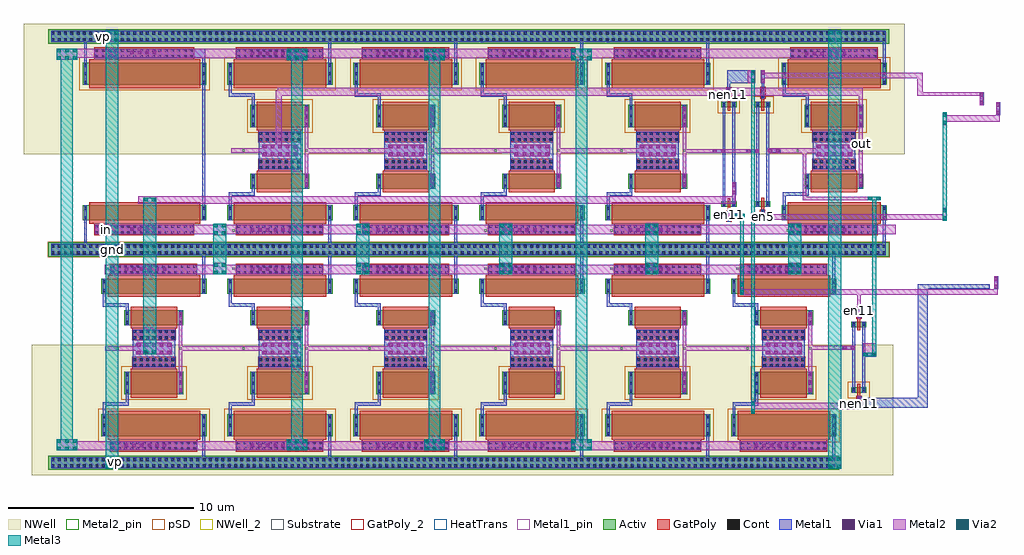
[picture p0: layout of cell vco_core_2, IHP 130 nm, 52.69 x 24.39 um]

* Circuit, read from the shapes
.subckt vco_core_2 en11 en5 gnd in nen11 nen5 out vp
XM1 vco_delay_cell_2$6_10/pgt in gnd gnd sg13_lv_nmos w=0.8u l=6u
XM2 gnd in n1 gnd sg13_lv_nmos w=0.8u l=5u
XM3 vco_delay_cell_2$6_7/in vco_delay_cell_2$6_9/in n1 gnd sg13_lv_nmos w=0.8u l=2.5u
XM4 gnd in n2 gnd sg13_lv_nmos w=0.8u l=5u
XM5 gnd in n3 gnd sg13_lv_nmos w=0.8u l=5u
XM6 vco_delay_cell_2$6_13/in vco_delay_cell_2$6_7/in n2 gnd sg13_lv_nmos w=0.8u l=2.5u
XM7 vco_delay_cell_2$6_2/in out n3 gnd sg13_lv_nmos w=0.8u l=2.5u
XM8 gnd in n4 gnd sg13_lv_nmos w=0.8u l=5u
XM9 gnd in n5 gnd sg13_lv_nmos w=0.8u l=5u
XM10 vco_delay_cell_2$6_14/in vco_delay_cell_2$6_13/in n4 gnd sg13_lv_nmos w=0.8u l=2.5u
XM11 vco_delay_cell_2$6_10/in vco_delay_cell_2$6_2/in n5 gnd sg13_lv_nmos w=0.8u l=2.5u
XM12 gnd in n6 gnd sg13_lv_nmos w=0.8u l=5u
XM13 gnd in n7 gnd sg13_lv_nmos w=0.8u l=5u
XM14 vco_delay_cell_2$6_15/in vco_delay_cell_2$6_14/in n6 gnd sg13_lv_nmos w=0.8u l=2.5u
XM15 vco_delay_cell_2$6_4/in vco_delay_cell_2$6_10/in n7 gnd sg13_lv_nmos w=0.8u l=2.5u
XM16 gnd in n8 gnd sg13_lv_nmos w=0.8u l=5u
XM17 gnd in n9 gnd sg13_lv_nmos w=0.8u l=5u
XM18 vco_delay_cell_2$6_16/in vco_delay_cell_2$6_15/in n8 gnd sg13_lv_nmos w=0.8u l=2.5u
XM19 vco_delay_cell_2$6_4/out vco_delay_cell_2$6_4/in n9 gnd sg13_lv_nmos w=0.8u l=2.5u
XM20 vco_delay_cell_2$6_9/in en11 vco_delay_cell_2$6_4/out gnd sg13_lv_nmos w=0.3u l=0.15u
XM21 gnd in n10 gnd sg13_lv_nmos w=0.8u l=5u
XM22 vco_delay_cell_2$6_16/out vco_delay_cell_2$6_16/in n10 gnd sg13_lv_nmos w=0.8u l=2.5u
XM23 vco_delay_cell_2$6_6/in en5 vco_delay_cell_2$6_4/out gnd sg13_lv_nmos w=0.3u l=0.15u
XM24 gnd in n11 gnd sg13_lv_nmos w=0.8u l=5u
XM25 out vco_delay_cell_2$6_6/in n11 gnd sg13_lv_nmos w=0.8u l=2.5u
XM26 vco_delay_cell_2$6_6/in en11 vco_delay_cell_2$6_16/out gnd sg13_lv_nmos w=0.3u l=0.15u
XM27 vco_delay_cell_2$6_10/pgt vco_delay_cell_2$6_10/pgt vp vp sg13_lv_pmos w=1.2u l=6u
XM28 vp vco_delay_cell_2$6_10/pgt n12 vp sg13_lv_pmos w=1.2u l=5u
XM29 vco_delay_cell_2$6_7/in vco_delay_cell_2$6_9/in n12 vp sg13_lv_pmos w=1.2u l=2.5u
XM30 vp vco_delay_cell_2$6_10/pgt n13 vp sg13_lv_pmos w=1.2u l=5u
XM31 vp vco_delay_cell_2$6_10/pgt n14 vp sg13_lv_pmos w=1.2u l=5u
XM32 vco_delay_cell_2$6_13/in vco_delay_cell_2$6_7/in n13 vp sg13_lv_pmos w=1.2u l=2.5u
XM33 vco_delay_cell_2$6_2/in out n14 vp sg13_lv_pmos w=1.2u l=2.5u
XM34 vp vco_delay_cell_2$6_10/pgt n15 vp sg13_lv_pmos w=1.2u l=5u
XM35 vp vco_delay_cell_2$6_10/pgt n16 vp sg13_lv_pmos w=1.2u l=5u
XM36 vco_delay_cell_2$6_14/in vco_delay_cell_2$6_13/in n15 vp sg13_lv_pmos w=1.2u l=2.5u
XM37 vco_delay_cell_2$6_10/in vco_delay_cell_2$6_2/in n16 vp sg13_lv_pmos w=1.2u l=2.5u
XM38 vp vco_delay_cell_2$6_10/pgt n17 vp sg13_lv_pmos w=1.2u l=5u
XM39 vp vco_delay_cell_2$6_10/pgt n18 vp sg13_lv_pmos w=1.2u l=5u
XM40 vco_delay_cell_2$6_15/in vco_delay_cell_2$6_14/in n17 vp sg13_lv_pmos w=1.2u l=2.5u
XM41 vco_delay_cell_2$6_4/in vco_delay_cell_2$6_10/in n18 vp sg13_lv_pmos w=1.2u l=2.5u
XM42 vp vco_delay_cell_2$6_10/pgt n19 vp sg13_lv_pmos w=1.2u l=5u
XM43 vp vco_delay_cell_2$6_10/pgt n20 vp sg13_lv_pmos w=1.2u l=5u
XM44 vco_delay_cell_2$6_16/in vco_delay_cell_2$6_15/in n19 vp sg13_lv_pmos w=1.2u l=2.5u
XM45 vco_delay_cell_2$6_4/out vco_delay_cell_2$6_4/in n20 vp sg13_lv_pmos w=1.2u l=2.5u
XM46 vco_delay_cell_2$6_9/in nen11 vco_delay_cell_2$6_4/out vp sg13_lv_pmos w=0.3u l=0.15u
XM47 vp vco_delay_cell_2$6_10/pgt n21 vp sg13_lv_pmos w=1.2u l=5u
XM48 vco_delay_cell_2$6_16/out vco_delay_cell_2$6_16/in n21 vp sg13_lv_pmos w=1.2u l=2.5u
XM49 vco_delay_cell_2$6_6/in nen5 vco_delay_cell_2$6_4/out vp sg13_lv_pmos w=0.3u l=0.15u
XM50 vp vco_delay_cell_2$6_10/pgt n22 vp sg13_lv_pmos w=1.2u l=5u
XM51 out vco_delay_cell_2$6_6/in n22 vp sg13_lv_pmos w=1.2u l=2.5u
XM52 vco_delay_cell_2$6_6/in nen11 vco_delay_cell_2$6_16/out vp sg13_lv_pmos w=0.3u l=0.15u
.ends

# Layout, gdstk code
from math import pi, radians
import gdstk
lib = gdstk.Library(unit=1e-6, precision=1e-09)
def R(c, l, rs):  # rectangles x0, y0, x1, y1
    for r in rs: c.add(gdstk.rectangle(r[:2], r[2:], *l))
def A(c, l, x, y, w, h, nx, ny, dx, dy):  # array of equal rectangles
    R(c, l, [(x+i*dx, y+j*dy, x+i*dx+w, y+j*dy+h) for i in range(nx) for j in range(ny)])
Activ = (1, 0)
GatPoly = (5, 0)
GatPoly_2 = (5, 2)
Cont = (6, 0)
Metal1 = (8, 0)
Metal1_pin = (8, 2)
Metal2 = (10, 0)
Metal2_pin = (10, 2)
pSD = (14, 0)
Via1 = (19, 0)
Via2 = (29, 0)
Metal3 = (30, 0)
NWell = (31, 0)
NWell_2 = (31, 2)
Substrate = (40, 0)
HeatTrans = (51, 0)

ptap1 = lib.new_cell('ptap1')
R(ptap1, Activ, [(0,0,2,0.78)])
A(ptap1, Cont, 0.07, 0.14, 0.16, 0.16, 6, 2, 0.34, 0.34)
R(ptap1, Metal1, [(0.07,0.09,1.93,0.69), (0.07,0.14,1.93,0.64)])
R(ptap1, Metal1_pin, [(0.07,0.14,1.93,0.64)])
R(ptap1, pSD, [(-0.03,-0.03,2.03,0.81)])
R(ptap1, Substrate, [(0,0,2,0.78)])
ptap1.add(gdstk.Label('sub!', (1,0.01), layer=63, texttype=0))
ptap1.add(gdstk.Label('sub!', (1,0.01), layer=40, texttype=0))

via_15_2 = lib.new_cell('Via$15$2')
R(via_15_2, GatPoly, [(-2.36,-0.32,2.36,0.32)])
A(via_15_2, Cont, -2.29, -0.25, 0.16, 0.16, 14, 2, 0.34, 0.34)
R(via_15_2, Metal1, [(-2.34,-0.25,2.34,0.25)])

via_7_6 = lib.new_cell('Via$7$6')
R(via_7_6, Metal1, [(-0.555,-0.105,0.555,0.105)])
R(via_7_6, Metal2, [(-0.555,-0.1,0.555,0.1)])
A(via_7_6, Via1, -0.505, -0.095, 0.19, 0.19, 3, 1, 0.41, 0)

ptap1_3_2 = lib.new_cell('ptap1$3$2')
R(ptap1_3_2, Activ, [(0,0,6,0.78)])
A(ptap1_3_2, Cont, 0.2, 0.14, 0.16, 0.16, 17, 2, 0.34, 0.34)
R(ptap1_3_2, Metal1, [(0.2,0.09,5.8,0.69), (0.2,0.14,5.8,0.64)])
R(ptap1_3_2, Metal1_pin, [(0.2,0.14,5.8,0.64)])
R(ptap1_3_2, pSD, [(-0.03,-0.03,6.03,0.81)])
R(ptap1_3_2, Substrate, [(0,0,6,0.78)])
ptap1_3_2.add(gdstk.Label('sub!', (3,0.01), layer=63, texttype=0))
ptap1_3_2.add(gdstk.Label('sub!', (3,0.01), layer=40, texttype=0))

pmos_5_6 = lib.new_cell('pmos$5$6')
R(pmos_5_6, Activ, [(0,0,0.3,0.3), (0,0,3.18,1.2), (2.88,0,3.18,0.3)])
R(pmos_5_6, GatPoly, [(0.34,-0.18,2.84,1.38), (0.34,-0.18,2.84,1.38)])
A(pmos_5_6, Cont, 0.07, 0.07, 0.16, 0.16, 1, 3, 0, 0.45)
A(pmos_5_6, Cont, 2.95, 0.07, 0.16, 0.16, 1, 3, 0, 0.45)
R(pmos_5_6, Metal1, [(0.07,0,0.23,1.2), (0.07,0,0.23,1.2), (2.95,0,3.11,1.2), (2.95,0,3.11,1.2)])
R(pmos_5_6, pSD, [(-0.18,-0.3,3.36,1.5)])
R(pmos_5_6, NWell, [(-0.31,-0.31,3.49,1.51)])
R(pmos_5_6, HeatTrans, [(0.34,-0.18,2.84,1.38)])
pmos_5_6.add(gdstk.Label('pmos', (1.59,0.6), layer=63, texttype=0))
pmos_5_6.add(gdstk.Label('pmos', (1.59,0.6), layer=51, texttype=0))

via_12_2 = lib.new_cell('Via$12$2')
R(via_12_2, GatPoly, [(-1.17,-0.32,1.17,0.32)])
A(via_12_2, Cont, -1.1, -0.25, 0.16, 0.16, 7, 2, 0.34, 0.34)
R(via_12_2, Metal1, [(-1.15,-0.25,1.15,0.25)])

ntap1_3_1 = lib.new_cell('ntap1$3$1')
R(ntap1_3_1, Activ, [(0,0,6,0.78)])
A(ntap1_3_1, Cont, 0.2, 0.14, 0.16, 0.16, 17, 2, 0.34, 0.34)
R(ntap1_3_1, Metal1, [(0.2,0.09,5.8,0.69)])
R(ntap1_3_1, Metal1_pin, [(0.2,0.09,5.8,0.69), (0.2,0.14,5.8,0.64)])
R(ntap1_3_1, NWell, [(-0.24,-0.24,6.24,1.02), (0,0,6,0.78)])
R(ntap1_3_1, NWell_2, [(0,0,6,0.78)])
ntap1_3_1.add(gdstk.Label('well', (3,0.01), layer=63, texttype=0))
ntap1_3_1.add(gdstk.Label('well', (3,0.01), layer=31, texttype=0))

via_8_6 = lib.new_cell('Via$8$6')
R(via_8_6, Metal1, [(-0.965,-0.31,0.965,0.31)])
R(via_8_6, Metal2, [(-0.965,-0.305,0.965,0.305)])
A(via_8_6, Via1, -0.915, -0.3, 0.19, 0.19, 5, 2, 0.41, 0.41)

nmos_4_3 = lib.new_cell('nmos$4$3')
R(nmos_4_3, Activ, [(0,0,0.3,0.3), (0,0,5.68,0.8), (5.38,0,5.68,0.3)])
R(nmos_4_3, GatPoly, [(0.34,-0.18,5.34,0.98)])
R(nmos_4_3, GatPoly_2, [(0.34,-0.18,5.34,0.98)])
R(nmos_4_3, Cont, [(0.07,0.07,0.23,0.23), (5.45,0.07,5.61,0.23), (0.07,0.57,0.23,0.73), (5.45,0.57,5.61,0.73)])
R(nmos_4_3, Metal1, [(0.07,0,0.23,0.8), (5.45,0,5.61,0.8)])
R(nmos_4_3, Metal1_pin, [(0.07,0,0.23,0.8), (5.45,0,5.61,0.8)])
R(nmos_4_3, HeatTrans, [(0.34,-0.18,5.34,0.98)])
nmos_4_3.add(gdstk.Label('nmos', (2.84,0.4), layer=63, texttype=0))
nmos_4_3.add(gdstk.Label('nmos', (2.84,0.4), layer=51, texttype=0))

pmos_4_1 = lib.new_cell('pmos$4$1')
R(pmos_4_1, Activ, [(0,0,0.3,0.3), (0,0,5.68,1.2), (5.38,0,5.68,0.3)])
R(pmos_4_1, GatPoly, [(0.34,-0.18,5.34,1.38), (0.34,-0.18,5.34,1.38)])
A(pmos_4_1, Cont, 0.07, 0.07, 0.16, 0.16, 1, 3, 0, 0.45)
A(pmos_4_1, Cont, 5.45, 0.07, 0.16, 0.16, 1, 3, 0, 0.45)
R(pmos_4_1, Metal1, [(0.07,0,0.23,1.2), (0.07,0,0.23,1.2), (5.45,0,5.61,1.2), (5.45,0,5.61,1.2)])
R(pmos_4_1, pSD, [(-0.18,-0.3,5.86,1.5)])
R(pmos_4_1, NWell, [(-0.31,-0.31,5.99,1.51)])
R(pmos_4_1, HeatTrans, [(0.34,-0.18,5.34,1.38)])
pmos_4_1.add(gdstk.Label('pmos', (2.84,0.6), layer=63, texttype=0))
pmos_4_1.add(gdstk.Label('pmos', (2.84,0.6), layer=51, texttype=0))

via_11_4 = lib.new_cell('Via$11$4')
R(via_11_4, Metal1, [(-0.35,-0.105,0.35,0.105)])
R(via_11_4, Metal2, [(-0.35,-0.1,0.35,0.1)])
R(via_11_4, Via1, [(-0.3,-0.095,-0.11,0.095), (0.11,-0.095,0.3,0.095)])

nmos_2_3 = lib.new_cell('nmos$2$3')
R(nmos_2_3, Activ, [(0,0,0.3,0.3), (0,0,3.18,0.8), (2.88,0,3.18,0.3)])
R(nmos_2_3, GatPoly, [(0.34,-0.18,2.84,0.98)])
R(nmos_2_3, GatPoly_2, [(0.34,-0.18,2.84,0.98)])
R(nmos_2_3, Cont, [(0.07,0.07,0.23,0.23), (2.95,0.07,3.11,0.23), (0.07,0.57,0.23,0.73), (2.95,0.57,3.11,0.73)])
R(nmos_2_3, Metal1, [(0.07,0,0.23,0.8), (2.95,0,3.11,0.8)])
R(nmos_2_3, Metal1_pin, [(0.07,0,0.23,0.8), (2.95,0,3.11,0.8)])
R(nmos_2_3, HeatTrans, [(0.34,-0.18,2.84,0.98)])
nmos_2_3.add(gdstk.Label('nmos', (1.59,0.4), layer=63, texttype=0))
nmos_2_3.add(gdstk.Label('nmos', (1.59,0.4), layer=51, texttype=0))

via_14_2 = lib.new_cell('Via$14$2')
R(via_14_2, Metal1, [(-1.17,-0.105,1.17,0.105)])
R(via_14_2, Metal2, [(-1.17,-0.1,1.17,0.1)])
A(via_14_2, Via1, -1.12, -0.095, 0.19, 0.19, 6, 1, 0.41, 0)

vco_delay_cell_2_6 = lib.new_cell('vco_delay_cell_2$6')
R(vco_delay_cell_2_6, Metal1, [(3.87,-4.85,4.03,-3.55), (0.02,-4.32,0.14,-3.82), (0.14,-4.32,0.48,-3.82), (-1.51,-2.77,-1.35,-2.195), (-1.51,-2.25,-0.11,-2.06), (-0.27,-2.25,-0.11,-1.87), (0.1,-0.82,2.4,1.21), (-0.27,2.13,-0.11,3.16), (-1.51,3.105,-1.35,3.97), (-1.51,3.105,-0.11,3.295), (3.87,4.71,4.03,6.27), (-1.51,6.05,-1.35,6.29)])
R(vco_delay_cell_2_6, Metal1_pin, [(0.705,-5.08,0.835,-4.95), (0.335,6.315,0.465,6.445)])
R(vco_delay_cell_2_6, Metal2, [(-1.4,-4.32,-0.51,-3.82), (-0.52,-4.32,3.55,-3.82), (2.59,-1.76,2.79,0.57), (2.59,-0.16,2.79,1.48), (-1.38,0.07,0.95,0.32), (-1.45,5.19,3.55,5.69)])
R(vco_delay_cell_2_6, Metal2_pin, [(-1.31,-4.18,-1.18,-4.05), (2.635,0.13,2.765,0.26), (-0.775,0.135,-0.645,0.265), (-0.495,5.41,-0.365,5.54)])
R(vco_delay_cell_2_6, NWell, [(-2.36,-0.01,4.65,0.3), (-1.56,0.29,2.98,5.31), (-2.36,0.3,4.65,7.04)])
vco_delay_cell_2_6.add(gdstk.Reference(via_15_2, (1.24,5.44)))
vco_delay_cell_2_6.add(gdstk.Reference(via_7_6, (2.69,2.01), rotation=pi/2))
vco_delay_cell_2_6.add(gdstk.Reference(ptap1_3_2, (-1.76,-5.54)))
vco_delay_cell_2_6.add(gdstk.Reference(pmos_5_6, (-0.34,1.46)))
vco_delay_cell_2_6.add(gdstk.Reference(via_15_2, (1.24,-4.07)))
vco_delay_cell_2_6.add(gdstk.Reference(via_12_2, (1.25,0.96)))
vco_delay_cell_2_6.add(gdstk.Reference(ntap1_3_1, (-1.76,5.97)))
vco_delay_cell_2_6.add(gdstk.Reference(via_12_2, (1.25,-0.57)))
vco_delay_cell_2_6.add(gdstk.Reference(via_8_6, (1.26,0.2)))
vco_delay_cell_2_6.add(gdstk.Reference(nmos_4_3, (-1.58,-3.57)))
vco_delay_cell_2_6.add(gdstk.Reference(pmos_4_1, (-1.58,3.74)))
vco_delay_cell_2_6.add(gdstk.Reference(via_11_4, (2.69,-1.42), rotation=pi/2))
vco_delay_cell_2_6.add(gdstk.Reference(nmos_2_3, (-0.34,-1.87)))
vco_delay_cell_2_6.add(gdstk.Reference(via_14_2, (0.8,-4.1)))
vco_delay_cell_2_6.add(gdstk.Reference(via_14_2, (0.8,5.44)))
vco_delay_cell_2_6.add(gdstk.Label('in', (-0.71,0.2), layer=10, texttype=25))
vco_delay_cell_2_6.add(gdstk.Label('out', (2.7,0.18), layer=10, texttype=25))
vco_delay_cell_2_6.add(gdstk.Label('ngt', (-1.24,-4.11), layer=10, texttype=25))
vco_delay_cell_2_6.add(gdstk.Label('pgt', (-0.43,5.48), layer=10, texttype=25))
vco_delay_cell_2_6.add(gdstk.Label('gnd', (0.77,-5.01), layer=8, texttype=25))
vco_delay_cell_2_6.add(gdstk.Label('vp', (0.4,6.38), layer=8, texttype=25))

ptap1_3 = lib.new_cell('ptap1$3')
R(ptap1_3, Activ, [(0,0,9,0.78)])
A(ptap1_3, Cont, 0.17, 0.14, 0.16, 0.16, 26, 2, 0.34, 0.34)
R(ptap1_3, Metal1, [(0.17,0.09,8.83,0.69), (0.17,0.14,8.83,0.64)])
R(ptap1_3, Metal1_pin, [(0.17,0.14,8.83,0.64)])
R(ptap1_3, pSD, [(-0.03,-0.03,9.03,0.81)])
R(ptap1_3, Substrate, [(0,0,9,0.78)])
ptap1_3.add(gdstk.Label('sub!', (4.5,0.01), layer=63, texttype=0))
ptap1_3.add(gdstk.Label('sub!', (4.5,0.01), layer=40, texttype=0))

nmos_8 = lib.new_cell('nmos$8')
R(nmos_8, Activ, [(0,0,0.3,0.3), (0,0,0.83,0.3), (0.53,0,0.83,0.3)])
R(nmos_8, GatPoly, [(0.34,-0.18,0.49,0.48)])
R(nmos_8, GatPoly_2, [(0.34,-0.18,0.49,0.48)])
R(nmos_8, Cont, [(0.07,0.07,0.23,0.23), (0.6,0.07,0.76,0.23)])
R(nmos_8, Metal1, [(0.07,0,0.23,0.3), (0.6,0,0.76,0.3)])
R(nmos_8, Metal1_pin, [(0.07,0,0.23,0.3), (0.6,0,0.76,0.3)])
R(nmos_8, HeatTrans, [(0.34,-0.18,0.49,0.48)])
nmos_8.add(gdstk.Label('nmos', (0.415,0.15), layer=63, texttype=0))
nmos_8.add(gdstk.Label('nmos', (0.415,0.15), layer=51, texttype=0))

pmos_6 = lib.new_cell('pmos$6')
R(pmos_6, Activ, [(0,0,0.3,0.3), (0,0,0.83,0.3), (0.53,0,0.83,0.3)])
R(pmos_6, GatPoly, [(0.34,-0.18,0.49,0.48), (0.34,-0.18,0.49,0.48)])
R(pmos_6, Cont, [(0.07,0.07,0.23,0.23), (0.6,0.07,0.76,0.23)])
R(pmos_6, Metal1, [(0.07,0,0.23,0.3), (0.07,0,0.23,0.3), (0.6,0,0.76,0.3), (0.6,0,0.76,0.3)])
R(pmos_6, pSD, [(-0.18,-0.3,1.01,0.6)])
R(pmos_6, NWell, [(-0.31,-0.31,1.14,0.61)])
R(pmos_6, HeatTrans, [(0.34,-0.18,0.49,0.48)])
pmos_6.add(gdstk.Label('pmos', (0.415,0.15), layer=63, texttype=0))
pmos_6.add(gdstk.Label('pmos', (0.415,0.15), layer=51, texttype=0))

via_16 = lib.new_cell('Via$16')
R(via_16, Metal1, [(-0.35,-0.105,0.35,0.105)])
R(via_16, Metal2, [(-0.35,-0.1,0.35,0.1)])
R(via_16, Via1, [(-0.3,-0.095,-0.11,0.095), (0.11,-0.095,0.3,0.095)])

via_17 = lib.new_cell('Via$17')
R(via_17, GatPoly, [(-0.15,-0.32,0.15,0.32)])
R(via_17, Cont, [(-0.08,-0.25,0.08,-0.09), (-0.08,0.09,0.08,0.25)])
R(via_17, Metal1, [(-0.08,-0.3,0.08,0.3)])

via_18 = lib.new_cell('Via$18')
R(via_18, Metal2, [(-0.35,-0.1,0.35,0.1)])
R(via_18, Via2, [(-0.3,-0.095,-0.11,0.095), (0.11,-0.095,0.3,0.095)])
R(via_18, Metal3, [(-0.35,-0.1,0.35,0.1)])

ntap1 = lib.new_cell('ntap1')
R(ntap1, Activ, [(0,0,2,0.78)])
A(ntap1, Cont, 0.07, 0.14, 0.16, 0.16, 6, 2, 0.34, 0.34)
R(ntap1, Metal1, [(0.07,0.09,1.93,0.69)])
R(ntap1, Metal1_pin, [(0.07,0.09,1.93,0.69), (0.07,0.14,1.93,0.64)])
R(ntap1, NWell, [(-0.24,-0.24,2.24,1.02), (0,0,2,0.78)])
R(ntap1, NWell_2, [(0,0,2,0.78)])
ntap1.add(gdstk.Label('well', (1,0.01), layer=63, texttype=0))
ntap1.add(gdstk.Label('well', (1,0.01), layer=31, texttype=0))

ntap1_6 = lib.new_cell('ntap1$6')
R(ntap1_6, Activ, [(0,0,6,0.78)])
A(ntap1_6, Cont, 0.2, 0.14, 0.16, 0.16, 17, 2, 0.34, 0.34)
R(ntap1_6, Metal1, [(0.2,0.09,5.8,0.69)])
R(ntap1_6, Metal1_pin, [(0.2,0.09,5.8,0.69), (0.2,0.14,5.8,0.64)])
R(ntap1_6, NWell, [(-0.24,-0.24,6.24,1.02), (0,0,6,0.78)])
R(ntap1_6, NWell_2, [(0,0,6,0.78)])
ntap1_6.add(gdstk.Label('well', (3,0.01), layer=63, texttype=0))
ntap1_6.add(gdstk.Label('well', (3,0.01), layer=31, texttype=0))

via_14 = lib.new_cell('Via$14')
R(via_14, Metal2, [(-0.35,-0.305,0.35,0.305)])
R(via_14, Via2, [(-0.3,-0.3,-0.11,-0.11), (0.11,-0.3,0.3,-0.11), (-0.3,0.11,-0.11,0.3), (0.11,0.11,0.3,0.3)])
R(via_14, Metal3, [(-0.35,-0.305,0.35,0.305)])

via_15 = lib.new_cell('Via$15')
R(via_15, Metal2, [(-0.555,-0.305,0.555,0.305)])
A(via_15, Via2, -0.505, -0.3, 0.19, 0.19, 3, 2, 0.41, 0.41)
R(via_15, Metal3, [(-0.555,-0.305,0.555,0.305)])

via_19 = lib.new_cell('Via$19')
R(via_19, Metal1, [(-0.35,-0.31,0.35,0.31)])
R(via_19, Metal2, [(-0.35,-0.305,0.35,0.305)])
R(via_19, Via1, [(-0.3,-0.3,-0.11,-0.11), (0.11,-0.3,0.3,-0.11), (-0.3,0.11,-0.11,0.3), (0.11,0.11,0.3,0.3)])

via_12 = lib.new_cell('Via$12')
R(via_12, Metal1, [(-0.76,-0.105,0.76,0.105)])
R(via_12, Metal2, [(-0.76,-0.1,0.76,0.1)])
A(via_12, Via1, -0.71, -0.095, 0.19, 0.19, 4, 1, 0.41, 0)

pmos = lib.new_cell('pmos')
R(pmos, Activ, [(0,0,0.3,0.3), (0,0,6.68,1.2), (6.38,0,6.68,0.3)])
R(pmos, GatPoly, [(0.34,-0.18,6.34,1.38), (0.34,-0.18,6.34,1.38)])
A(pmos, Cont, 0.07, 0.07, 0.16, 0.16, 1, 3, 0, 0.45)
A(pmos, Cont, 6.45, 0.07, 0.16, 0.16, 1, 3, 0, 0.45)
R(pmos, Metal1, [(0.07,0,0.23,1.2), (0.07,0,0.23,1.2), (6.45,0,6.61,1.2), (6.45,0,6.61,1.2)])
R(pmos, pSD, [(-0.18,-0.3,6.86,1.5)])
R(pmos, NWell, [(-0.31,-0.31,6.99,1.51)])
R(pmos, HeatTrans, [(0.34,-0.18,6.34,1.38)])
pmos.add(gdstk.Label('pmos', (3.34,0.6), layer=63, texttype=0))
pmos.add(gdstk.Label('pmos', (3.34,0.6), layer=51, texttype=0))

via = lib.new_cell('Via')
R(via, GatPoly, [(-2.7,-0.32,2.7,0.32)])
A(via, Cont, -2.63, -0.25, 0.16, 0.16, 16, 2, 0.34, 0.34)
R(via, Metal1, [(-2.68,-0.25,2.68,0.25)])

ntap1_5 = lib.new_cell('ntap1$5')
R(ntap1_5, Activ, [(0,0,9,0.78)])
A(ntap1_5, Cont, 0.17, 0.14, 0.16, 0.16, 26, 2, 0.34, 0.34)
R(ntap1_5, Metal1, [(0.17,0.09,8.83,0.69)])
R(ntap1_5, Metal1_pin, [(0.17,0.09,8.83,0.69), (0.17,0.14,8.83,0.64)])
R(ntap1_5, NWell, [(-0.24,-0.24,9.24,1.02), (0,0,9,0.78)])
R(ntap1_5, NWell_2, [(0,0,9,0.78)])
ntap1_5.add(gdstk.Label('well', (4.5,0.01), layer=63, texttype=0))
ntap1_5.add(gdstk.Label('well', (4.5,0.01), layer=31, texttype=0))

nmos = lib.new_cell('nmos')
R(nmos, Activ, [(0,0,0.3,0.3), (0,0,6.68,0.8), (6.38,0,6.68,0.3)])
R(nmos, GatPoly, [(0.34,-0.18,6.34,0.98)])
R(nmos, GatPoly_2, [(0.34,-0.18,6.34,0.98)])
R(nmos, Cont, [(0.07,0.07,0.23,0.23), (6.45,0.07,6.61,0.23), (0.07,0.57,0.23,0.73), (6.45,0.57,6.61,0.73)])
R(nmos, Metal1, [(0.07,0,0.23,0.8), (6.45,0,6.61,0.8)])
R(nmos, Metal1_pin, [(0.07,0,0.23,0.8), (6.45,0,6.61,0.8)])
R(nmos, HeatTrans, [(0.34,-0.18,6.34,0.98)])
nmos.add(gdstk.Label('nmos', (3.34,0.4), layer=63, texttype=0))
nmos.add(gdstk.Label('nmos', (3.34,0.4), layer=51, texttype=0))

vco_core_2 = lib.new_cell('vco_core_2')
R(vco_core_2, Metal1, [(32.435,-14.055,36.215,-13.51), (35.69,-13.915,36.215,-7.395), (32.15,-13.1,32.31,-9.56), (32.68,-13.1,32.84,-9.56), (36.03,-7.645,39.57,-7.395), (-9.33,-5.43,-9.17,-3.9), (-2.95,-3.29,-2.79,4.19), (25.67,-3.15,25.83,2.22), (25.14,-3.145,25.3,2.22), (26.96,-3.13,27.12,2.22), (27.49,-3.13,27.65,2.22), (27.245,2.875,27.405,3.755), (25.4,3.055,25.56,3.665), (25.4,3.45,26.685,4.15), (-9.33,4.335,-9.17,5.995), (-2.95,4.395,-2.79,5.045), (-3.4,4.825,-2.79,5.325)])
R(vco_core_2, Metal1_pin, [(-7.715,-17.045,-7.585,-16.915), (32.445,-13.915,32.575,-13.785), (32.445,-8.86,32.575,-8.73), (-7.875,-5.605,-7.745,-5.475), (-7.875,-5.605,-7.745,-5.475), (27.27,-3.82,27.4,-3.69), (25.45,-3.72,25.58,-3.59), (25.42,2.8,25.55,2.93), (27.26,2.91,27.39,3.04), (-8.325,5.93,-8.195,6.06), (-8.325,5.93,-8.195,6.06)])
R(vco_core_2, Metal2, [(-10.61,-16.36,-8.1,-15.86), (-4.29,-16.36,30.77,-15.86), (5.13,-16.36,7.23,-15.86), (26.69,-14.15,28.56,-13.8), (28.56,-14.15,32.615,-13.8), (32.74,-11.09,33.44,-10.58), (-4.09,-10.99,-1.34,-10.74), (2.62,-10.99,6.35,-10.74), (9.44,-10.99,13.17,-10.74), (16.37,-10.99,20.1,-10.74), (23.1,-10.99,26.83,-10.74), (29.96,-10.93,32.28,-10.72), (29.855,-10.92,31.96,-10.72), (32.415,-9.21,32.615,-7.97), (26.09,-7.97,32.625,-7.66), (32.45,-7.97,40.01,-7.66), (-5.12,-6.85,30.3,-6.35), (-8.76,-4.69,-3.4,-4.19), (-5.12,-4.69,34.5,-4.19), (27.325,-3.91,37.135,-3.62), (25.565,-3.775,26.17,-3.575), (-6.39,-3.045,25.865,-2.63), (29.89,-2.87,33.68,-2.67), (25.665,-2.86,25.865,-2.59), (29.46,-0.9,29.66,-0.06), (2.74,-0.31,7.13,-0.06), (9.49,-0.31,13.22,-0.06), (16.28,-0.31,20.01,-0.06), (27.64,-0.31,30.87,-0.06), (23.09,-0.3,25.545,-0.1), (23.715,-0.3,26.825,-0.1), (1.02,-0.105,1.34,3.09), (37.125,1.39,40.115,1.74), (32.5,2.15,32.7,3.21), (1.13,2.77,32.7,3.21), (35.64,2.785,35.95,4.035), (35.745,2.785,39.225,2.985), (26.495,3.45,26.89,4.15), (27.405,3.73,35.95,4.035), (-4.29,4.82,33.49,5.32), (5.13,4.82,7.23,5.32), (-10.61,4.825,-8.51,5.325), (-8.76,4.825,-3.4,5.325)])
R(vco_core_2, Metal2_pin, [(-8.155,-4.505,-8.025,-4.375), (-8.155,-4.505,-8.025,-4.375), (32.56,0.165,32.69,0.295)])
R(vco_core_2, Metal3, [(-8.17,-17.085,-7.47,5.975), (30.855,-17.085,31.555,5.975), (1.86,-16.225,2.49,5.18), (-10.575,-16.205,-9.945,5.18), (9.28,-16.155,9.91,5.18), (17.21,-16.125,17.84,5.18), (26.69,-14.395,26.89,3.595), (-6.13,-11.16,-5.43,-2.93), (26.09,-7.415,26.29,-3.715), (-2.36,-6.66,-1.66,-4.35), (5.36,-6.66,6.06,-4.35), (13.1,-6.66,13.8,-4.35), (20.96,-6.66,21.66,-4.35), (28.7,-6.66,29.4,-4.35), (37.035,-3.89,37.235,1.545)])
R(vco_core_2, NWell, [(-12.14,-17.71,-8.57,-10.66), (-9.07,-17.71,34.35,-10.66), (-12.57,-0.38,34.99,6.675), (29.56,-0.01,34.44,6.67)])
vco_core_2.add(gdstk.FlexPath([(29.89,-2.77),(29.56,-2.77),(29.56,-0.73),(29.6,-0.73)], 0.2, ends="flush", simple_path=True, layer=10, datatype=0))  # Metal2
vco_core_2.add(gdstk.FlexPath([(33.33,-2.77),(33.33,-11.19)], 0.2, ends="flush", simple_path=True, layer=30, datatype=0))  # Metal3
vco_core_2.add(gdstk.Reference(ptap1, (3.8,-5.91)))
vco_core_2.add(gdstk.Reference(ptap1, (10.6,-5.91)))
vco_core_2.add(gdstk.Reference(vco_delay_cell_2_6, (6.79,-0.37)))
vco_core_2.add(gdstk.Reference(ptap1, (17.4,-5.91)))
vco_core_2.add(gdstk.Reference(vco_delay_cell_2_6, (20.39,-0.37)))
vco_core_2.add(gdstk.Reference(ptap1, (24.2,-5.91)))
vco_core_2.add(gdstk.Reference(vco_delay_cell_2_6, (29.91,-0.37)))
vco_core_2.add(gdstk.Reference(vco_delay_cell_2_6, (-0.01,-10.67), x_reflection=True))
vco_core_2.add(gdstk.Reference(ptap1, (-3.34,-5.91)))
vco_core_2.add(gdstk.Reference(vco_delay_cell_2_6, (-6.81,-10.67), x_reflection=True))
vco_core_2.add(gdstk.Reference(vco_delay_cell_2_6, (13.59,-0.37)))
vco_core_2.add(gdstk.Reference(ptap1_3, (-11.26,-5.91)))
vco_core_2.add(gdstk.Reference(vco_delay_cell_2_6, (-0.01,-0.37)))
vco_core_2.add(gdstk.Reference(vco_delay_cell_2_6, (6.79,-10.67), x_reflection=True))
vco_core_2.add(gdstk.Reference(vco_delay_cell_2_6, (13.59,-10.67), x_reflection=True))
vco_core_2.add(gdstk.Reference(vco_delay_cell_2_6, (20.39,-10.67), x_reflection=True))
vco_core_2.add(gdstk.Reference(vco_delay_cell_2_6, (27.19,-10.67), x_reflection=True))
vco_core_2.add(gdstk.Reference(nmos_8, (25.07,-3.22)))
vco_core_2.add(gdstk.Reference(pmos_6, (25.07,2.15)))
vco_core_2.add(gdstk.Reference(nmos_8, (26.89,-3.2)))
vco_core_2.add(gdstk.Reference(via_16, (24.95,-0.2)))
vco_core_2.add(gdstk.Reference(via_16, (26.77,-0.2)))
vco_core_2.add(gdstk.Reference(via_17, (25.485,-3.71)))
vco_core_2.add(gdstk.Reference(via_17, (27.305,-3.685)))
vco_core_2.add(gdstk.Reference(via_17, (25.48,2.925)))
vco_core_2.add(gdstk.Reference(via_17, (27.32,2.94)))
vco_core_2.add(gdstk.Reference(via_16, (25.765,-2.24), rotation=pi/2))
vco_core_2.add(gdstk.Reference(pmos_6, (26.89,2.15)))
vco_core_2.add(gdstk.Reference(via_18, (33.33,-2.77)))
vco_core_2.add(gdstk.Reference(via_16, (27.94,-0.18)))
vco_core_2.add(gdstk.Reference(ntap1, (17.4,5.6)))
vco_core_2.add(gdstk.Reference(ntap1_6, (24.07,5.6)))
vco_core_2.add(gdstk.Reference(via_14, (21.31,-4.43)))
vco_core_2.add(gdstk.Reference(via_14, (29.05,-4.43)))
vco_core_2.add(gdstk.Reference(via_15, (17.52,5.015)))
vco_core_2.add(gdstk.Reference(via_14, (31.205,6)))
vco_core_2.add(gdstk.Reference(via_19, (31.205,6)))
vco_core_2.add(gdstk.Reference(via_16, (25.585,-3.67), rotation=pi))
vco_core_2.add(gdstk.Reference(via_18, (25.995,-3.675), rotation=pi))
vco_core_2.add(gdstk.Reference(via_16, (27.23,-3.745), rotation=pi))
vco_core_2.add(gdstk.Reference(via_16, (27.32,3.805), rotation=pi/2))
vco_core_2.add(gdstk.Reference(via_18, (37.135,-3.62), rotation=pi/2))
vco_core_2.add(gdstk.Reference(via_18, (37.135,1.545), rotation=pi/2))
vco_core_2.add(gdstk.Reference(via_16, (40.015,2.09), rotation=pi/2))
vco_core_2.add(gdstk.Reference(via_16, (39.125,2.62), rotation=pi/2))
vco_core_2.add(gdstk.Reference(via_16, (26.79,3.8), rotation=pi/2))
vco_core_2.add(gdstk.Reference(via_18, (26.79,3.8), rotation=pi/2))
vco_core_2.add(gdstk.Reference(via_15, (2.17,5.015)))
vco_core_2.add(gdstk.Reference(via_15, (9.59,5.015)))
vco_core_2.add(gdstk.Reference(via_12, (-6.13,-4.4)))
vco_core_2.add(gdstk.Reference(ntap1, (10.6,5.6)))
vco_core_2.add(gdstk.Reference(pmos, (-9.4,3.37)))
vco_core_2.add(gdstk.Reference(via_14, (-7.82,6)))
vco_core_2.add(gdstk.Reference(via_19, (-7.82,6)))
vco_core_2.add(gdstk.Reference(via, (-6.08,5.07)))
vco_core_2.add(gdstk.Reference(via_12, (-6.13,5.11)))
vco_core_2.add(gdstk.Reference(ntap1_5, (-10.24,5.6)))
vco_core_2.add(gdstk.Reference(ntap1_5, (-11.26,5.6)))
vco_core_2.add(gdstk.Reference(ntap1, (3.8,5.6)))
vco_core_2.add(gdstk.Reference(via_14, (-2.01,-4.43)))
vco_core_2.add(gdstk.Reference(via_14, (5.71,-4.43)))
vco_core_2.add(gdstk.Reference(via_14, (13.45,-4.43)))
vco_core_2.add(gdstk.Reference(nmos, (-9.4,-3.94)))
vco_core_2.add(gdstk.Reference(via_18, (-5.78,-2.83)))
vco_core_2.add(gdstk.Reference(via, (-6.08,-4.44)))
vco_core_2.add(gdstk.Reference(via_15, (-10.26,5.02)))
vco_core_2.add(gdstk.Reference(ntap1_5, (-11.26,-17.42)))
vco_core_2.add(gdstk.Reference(ntap1, (3.8,-17.42)))
vco_core_2.add(gdstk.Reference(via_18, (-5.78,-11.06)))
vco_core_2.add(gdstk.Reference(via_14, (-2.01,-6.55)))
vco_core_2.add(gdstk.Reference(via_15, (-10.26,-16.055)))
vco_core_2.add(gdstk.Reference(ntap1, (10.6,-17.42)))
vco_core_2.add(gdstk.Reference(via_15, (2.17,-16.055)))
vco_core_2.add(gdstk.Reference(via_14, (5.71,-6.55)))
vco_core_2.add(gdstk.Reference(via_15, (9.59,-16.055)))
vco_core_2.add(gdstk.Reference(ntap1_5, (-10.24,-17.42)))
vco_core_2.add(gdstk.Reference(via_19, (-7.82,-17.04)))
vco_core_2.add(gdstk.Reference(via_14, (-7.82,-17.04)))
vco_core_2.add(gdstk.Reference(via_14, (13.45,-6.55)))
vco_core_2.add(gdstk.Reference(via_16, (31.96,-10.82), x_reflection=True))
vco_core_2.add(gdstk.Reference(via_17, (32.51,-8.935), x_reflection=True))
vco_core_2.add(gdstk.Reference(via_17, (32.51,-13.73), x_reflection=True))
vco_core_2.add(gdstk.Reference(via_19, (31.205,-17.04)))
vco_core_2.add(gdstk.Reference(via_14, (31.205,-17.04)))
vco_core_2.add(gdstk.Reference(via_18, (33.09,-11.19)))
vco_core_2.add(gdstk.Reference(via_15, (17.52,-16.055)))
vco_core_2.add(gdstk.Reference(via_14, (29.05,-6.55)))
vco_core_2.add(gdstk.Reference(ntap1, (20.46,-17.42)))
vco_core_2.add(gdstk.Reference(via_18, (26.19,-7.62), rotation=pi/2))
vco_core_2.add(gdstk.Reference(via_14, (21.31,-6.55)))
vco_core_2.add(gdstk.Reference(ntap1, (28.28,-17.42)))
vco_core_2.add(gdstk.Reference(via_16, (32.515,-13.8), rotation=pi/2))
vco_core_2.add(gdstk.Reference(via_16, (39.91,-7.31), rotation=pi/2))
vco_core_2.add(gdstk.Reference(via_16, (32.515,-8.885), rotation=pi/2))
vco_core_2.add(gdstk.Reference(nmos_8, (32.08,-9.41), x_reflection=True))
vco_core_2.add(gdstk.Reference(pmos_6, (32.08,-12.95), x_reflection=True))
vco_core_2.add(gdstk.Reference(ntap1, (17.06,-17.42)))
vco_core_2.add(gdstk.Reference(ntap1, (18.42,-17.42)))
vco_core_2.add(gdstk.Reference(via_18, (26.785,-14.045), rotation=pi/2))
vco_core_2.add(gdstk.Reference(ntap1, (24.2,-17.42)))
vco_core_2.add(gdstk.Reference(via_16, (33.09,-11.19), x_reflection=True))
vco_core_2.add(gdstk.Label('in', (-8.09,-4.44), layer=10, texttype=25))
vco_core_2.add(gdstk.Label('out', (32.62,0.23), layer=10, texttype=25))
vco_core_2.add(gdstk.Label('in', (-8.09,-4.44), layer=10, texttype=25))
vco_core_2.add(gdstk.Label('nen11', (25.48,2.87), layer=8, texttype=25))
vco_core_2.add(gdstk.Label('en11', (32.51,-8.795), layer=8, texttype=25))
vco_core_2.add(gdstk.Label('nen5', (27.32,2.98), layer=8, texttype=25))
vco_core_2.add(gdstk.Label('en5', (27.33,-3.75), layer=8, texttype=25))
vco_core_2.add(gdstk.Label('vp', (-8.26,5.99), layer=8, texttype=25))
vco_core_2.add(gdstk.Label('gnd', (-7.81,-5.54), layer=8, texttype=25))
vco_core_2.add(gdstk.Label('en11', (25.51,-3.65), layer=8, texttype=25))
vco_core_2.add(gdstk.Label('nen11', (32.51,-13.85), layer=8, texttype=25))
vco_core_2.add(gdstk.Label('vp', (-8.26,5.99), layer=8, texttype=25))
vco_core_2.add(gdstk.Label('vp', (-7.65,-16.98), layer=8, texttype=25))
vco_core_2.add(gdstk.Label('gnd', (-7.81,-5.54), layer=8, texttype=25))

lib.write_gds('vco_core_2.gds')
